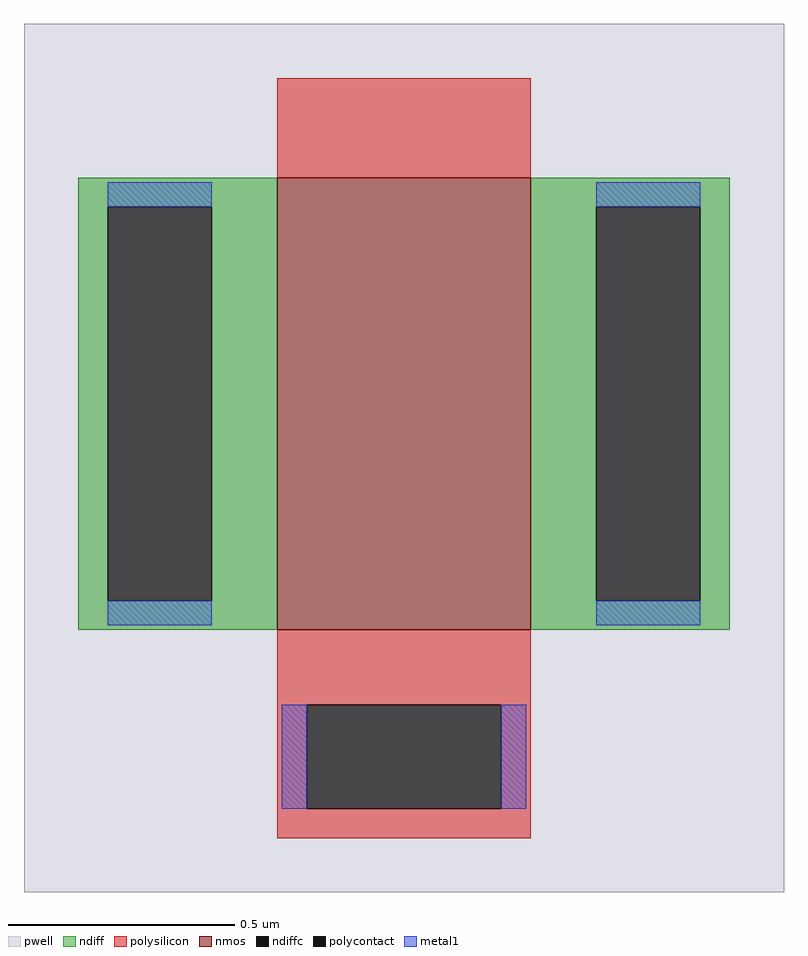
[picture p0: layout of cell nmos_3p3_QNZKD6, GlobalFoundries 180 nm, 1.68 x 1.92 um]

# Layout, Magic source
magic
tech gf180mcuC
magscale 1 10
<< pwell >>
rect -168 -192 168 192
<< nmos >>
rect -56 -76 56 124
<< ndiff >>
rect -144 111 -56 124
rect -144 -63 -131 111
rect -85 -63 -56 111
rect -144 -76 -56 -63
rect 56 111 144 124
rect 56 -63 85 111
rect 131 -63 144 111
rect 56 -76 144 -63
<< ndiffc >>
rect -131 -63 -85 111
rect 85 -63 131 111
<< polysilicon >>
rect -56 124 56 168
rect -56 -109 56 -76
rect -56 -155 -43 -109
rect 43 -155 56 -109
rect -56 -168 56 -155
<< polycontact >>
rect -43 -155 43 -109
<< metal1 >>
rect -131 111 -85 122
rect -131 -74 -85 -63
rect 85 111 131 122
rect 85 -74 131 -63
rect -54 -155 -43 -109
rect 43 -155 54 -109
<< properties >>
string gencell nmos_3p3
string library gf180mcu
string parameters w 1 l 0.56 m 1 nf 1 diffcov 100 polycov 100 guard 0 glc 0 grc 0 gtc 0 gbc 0 tbcov 100 rlcov 100 topc 0 botc 1 poverlap 0 doverlap 1 lmin 0.28 wmin 0.22 full_metal 0 compatible {nmos_3p3 nmos_6p0 nmos_6p0_nat}
<< end >>
